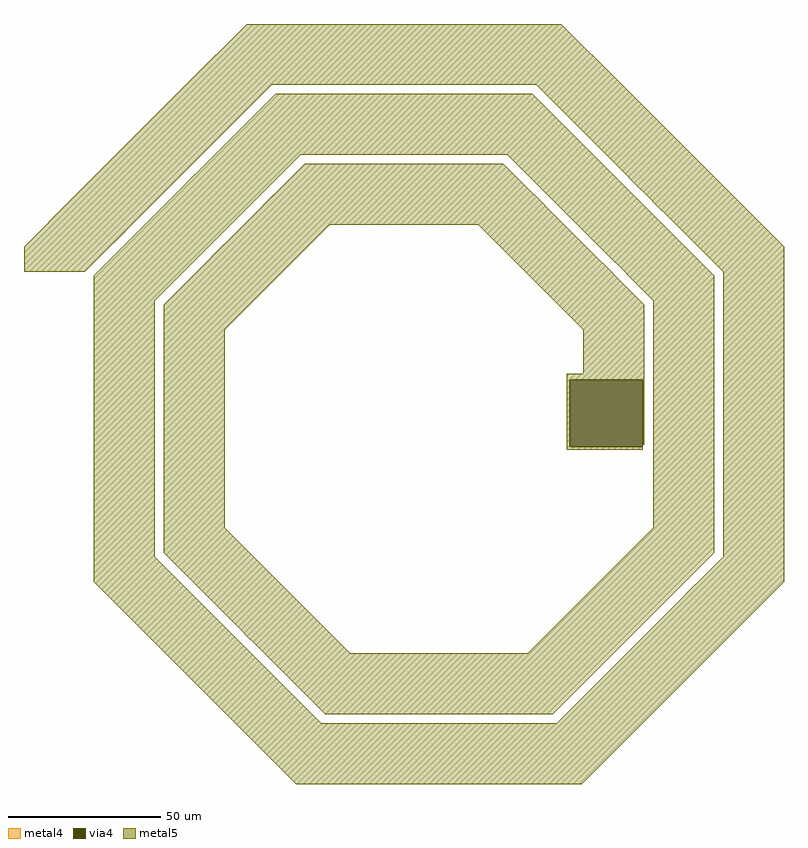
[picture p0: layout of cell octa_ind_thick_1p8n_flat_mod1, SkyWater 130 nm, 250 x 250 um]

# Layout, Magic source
magic
tech sky130B
magscale 1 2
<< metal4 >>
rect -6600 -22674 -6500 -18674
<< via4 >>
rect -11400 -22800 -6600 -18400
<< metal5 >>
tri -36655 1000 -32655 5000 se
rect -32655 1000 -11945 5000
tri -11945 1000 -7945 5000 sw
tri -38502 -847 -36655 1000 se
rect -36655 400 -31598 1000
tri -31598 400 -30998 1000 nw
tri -13602 400 -13002 1000 ne
rect -13002 400 -7945 1000
rect -36655 -448 -32446 400
tri -32446 -448 -31598 400 nw
tri -31598 -448 -30750 400 se
rect -30750 -448 -13850 400
tri -13850 -448 -13002 400 sw
tri -13002 -448 -12154 400 ne
rect -12154 -448 -7945 400
rect -36655 -847 -32845 -448
tri -32845 -847 -32446 -448 nw
tri -31997 -847 -31598 -448 se
rect -31598 -847 -13002 -448
tri -43300 -5645 -38502 -847 se
rect -38502 -1695 -33693 -847
tri -33693 -1695 -32845 -847 nw
tri -32845 -1695 -31997 -847 se
rect -31997 -1296 -13002 -847
tri -13002 -1296 -12154 -448 sw
tri -12154 -1296 -11306 -448 ne
rect -11306 -1296 -7945 -448
rect -31997 -1695 -12154 -1296
rect -38502 -2543 -34541 -1695
tri -34541 -2543 -33693 -1695 nw
tri -33693 -2543 -32845 -1695 se
rect -32845 -2102 -12154 -1695
tri -12154 -2102 -11348 -1296 sw
tri -11306 -2102 -10500 -1296 ne
rect -10500 -2102 -7945 -1296
rect -32845 -2543 -11348 -2102
rect -38502 -2752 -34750 -2543
tri -34750 -2752 -34541 -2543 nw
tri -33902 -2752 -33693 -2543 se
rect -33693 -2752 -11348 -2543
rect -38502 -3600 -35598 -2752
tri -35598 -3600 -34750 -2752 nw
tri -34750 -3600 -33902 -2752 se
rect -33902 -2950 -11348 -2752
tri -11348 -2950 -10500 -2102 sw
tri -10500 -2950 -9652 -2102 ne
rect -9652 -2950 -7945 -2102
rect -33902 -3600 -10500 -2950
rect -38502 -4448 -36446 -3600
tri -36446 -4448 -35598 -3600 nw
tri -35598 -4448 -34750 -3600 se
rect -34750 -4200 -29693 -3600
tri -29693 -4200 -29093 -3600 nw
tri -15507 -4200 -14907 -3600 ne
rect -14907 -3798 -10500 -3600
tri -10500 -3798 -9652 -2950 sw
tri -9652 -3798 -8804 -2950 ne
rect -8804 -3798 -7945 -2950
tri -7945 -3798 -3147 1000 sw
rect -14907 -4200 -9652 -3798
rect -34750 -4448 -30541 -4200
rect -38502 -5296 -37294 -4448
tri -37294 -5296 -36446 -4448 nw
tri -36446 -5296 -35598 -4448 se
rect -35598 -5048 -30541 -4448
tri -30541 -5048 -29693 -4200 nw
tri -29693 -5048 -28845 -4200 se
rect -28845 -5048 -15755 -4200
tri -15755 -5048 -14907 -4200 sw
tri -14907 -5048 -14059 -4200 ne
rect -14059 -4646 -9652 -4200
tri -9652 -4646 -8804 -3798 sw
tri -8804 -4646 -7956 -3798 ne
rect -7956 -4646 -3147 -3798
rect -14059 -5048 -8804 -4646
rect -35598 -5296 -31389 -5048
rect -38502 -5645 -37654 -5296
tri -44159 -6504 -43300 -5645 se
rect -43300 -5656 -37654 -5645
tri -37654 -5656 -37294 -5296 nw
tri -36806 -5656 -36446 -5296 se
rect -36446 -5656 -31389 -5296
rect -43300 -6504 -38502 -5656
tri -38502 -6504 -37654 -5656 nw
tri -37654 -6504 -36806 -5656 se
rect -36806 -5896 -31389 -5656
tri -31389 -5896 -30541 -5048 nw
tri -30541 -5896 -29693 -5048 se
rect -29693 -5896 -14907 -5048
tri -14907 -5896 -14059 -5048 sw
tri -14059 -5896 -13211 -5048 ne
rect -13211 -5494 -8804 -5048
tri -8804 -5494 -7956 -4646 sw
tri -7956 -5494 -7108 -4646 ne
rect -7108 -5494 -3147 -4646
rect -13211 -5896 -7956 -5494
rect -36806 -6504 -31997 -5896
tri -31997 -6504 -31389 -5896 nw
tri -31149 -6504 -30541 -5896 se
rect -30541 -6504 -14059 -5896
tri -14059 -6504 -13451 -5896 sw
tri -13211 -6504 -12603 -5896 ne
rect -12603 -6342 -7956 -5896
tri -7956 -6342 -7108 -5494 sw
tri -7108 -6342 -6260 -5494 ne
rect -6260 -6342 -3147 -5494
rect -12603 -6504 -7108 -6342
tri -47300 -9645 -44159 -6504 se
rect -44159 -7352 -39350 -6504
tri -39350 -7352 -38502 -6504 nw
tri -38502 -7352 -37654 -6504 se
rect -37654 -7352 -32845 -6504
tri -32845 -7352 -31997 -6504 nw
tri -31997 -7352 -31149 -6504 se
rect -31149 -7352 -13451 -6504
tri -13451 -7352 -12603 -6504 sw
tri -12603 -7352 -11755 -6504 ne
rect -11755 -6911 -7108 -6504
tri -7108 -6911 -6539 -6342 sw
tri -6260 -6911 -5691 -6342 ne
rect -5691 -6911 -3147 -6342
rect -11755 -7352 -6539 -6911
rect -44159 -8200 -40198 -7352
tri -40198 -8200 -39350 -7352 nw
tri -39350 -8200 -38502 -7352 se
rect -38502 -8200 -33693 -7352
tri -33693 -8200 -32845 -7352 nw
tri -32845 -8200 -31997 -7352 se
rect -31997 -8200 -12603 -7352
tri -12603 -8200 -11755 -7352 sw
tri -11755 -8200 -10907 -7352 ne
rect -10907 -7759 -6539 -7352
tri -6539 -7759 -5691 -6911 sw
tri -5691 -7759 -4843 -6911 ne
rect -4843 -7759 -3147 -6911
rect -10907 -8200 -5691 -7759
rect -44159 -9048 -41046 -8200
tri -41046 -9048 -40198 -8200 nw
tri -40198 -9048 -39350 -8200 se
rect -39350 -9048 -34541 -8200
tri -34541 -9048 -33693 -8200 nw
tri -33693 -9048 -32845 -8200 se
rect -44159 -9645 -41852 -9048
rect -47300 -9854 -41852 -9645
tri -41852 -9854 -41046 -9048 nw
tri -41004 -9854 -40198 -9048 se
rect -40198 -9854 -35389 -9048
rect -47300 -10702 -42700 -9854
tri -42700 -10702 -41852 -9854 nw
tri -41852 -10702 -41004 -9854 se
rect -41004 -9896 -35389 -9854
tri -35389 -9896 -34541 -9048 nw
tri -34541 -9896 -33693 -9048 se
rect -33693 -9896 -32845 -9048
rect -41004 -10702 -36237 -9896
rect -47300 -11300 -43300 -10702
tri -43300 -11302 -42700 -10702 nw
tri -42700 -11550 -41852 -10702 se
rect -41852 -10744 -36237 -10702
tri -36237 -10744 -35389 -9896 nw
tri -35389 -10744 -34541 -9896 se
rect -34541 -10744 -32845 -9896
rect -41852 -10911 -36404 -10744
tri -36404 -10911 -36237 -10744 nw
tri -35556 -10911 -35389 -10744 se
rect -35389 -10911 -32845 -10744
rect -41852 -11550 -37252 -10911
rect -42700 -11759 -37252 -11550
tri -37252 -11759 -36404 -10911 nw
tri -36404 -11759 -35556 -10911 se
rect -35556 -11759 -32845 -10911
rect -42700 -12607 -38100 -11759
tri -38100 -12607 -37252 -11759 nw
tri -37252 -12607 -36404 -11759 se
rect -36404 -12607 -32845 -11759
rect -42700 -30646 -38700 -12607
tri -38700 -13207 -38100 -12607 nw
tri -38100 -13455 -37252 -12607 se
rect -37252 -13455 -32845 -12607
rect -38100 -13857 -32845 -13455
tri -32845 -13857 -27188 -8200 nw
tri -17412 -13857 -11755 -8200 ne
tri -11755 -8607 -11348 -8200 sw
tri -10907 -8607 -10500 -8200 ne
rect -10500 -8607 -5691 -8200
tri -5691 -8607 -4843 -7759 sw
tri -4843 -8607 -3995 -7759 ne
rect -3995 -8607 -3147 -7759
rect -11755 -9455 -11348 -8607
tri -11348 -9455 -10500 -8607 sw
tri -10500 -9455 -9652 -8607 ne
rect -9652 -9455 -4843 -8607
tri -4843 -9455 -3995 -8607 sw
tri -3995 -9455 -3147 -8607 ne
tri -3147 -9455 2510 -3798 sw
rect -11755 -10303 -10500 -9455
tri -10500 -10303 -9652 -9455 sw
tri -9652 -10303 -8804 -9455 ne
rect -8804 -10303 -3995 -9455
tri -3995 -10303 -3147 -9455 sw
tri -3147 -10303 -2299 -9455 ne
rect -2299 -9645 2510 -9455
tri 2510 -9645 2700 -9455 sw
rect -2299 -10303 2700 -9645
rect -11755 -11151 -9652 -10303
tri -9652 -11151 -8804 -10303 sw
tri -8804 -11151 -7956 -10303 ne
rect -7956 -10702 -3147 -10303
tri -3147 -10702 -2748 -10303 sw
tri -2299 -10702 -1900 -10303 ne
rect -1900 -10702 2700 -10303
rect -7956 -11151 -2748 -10702
rect -11755 -11759 -8804 -11151
tri -8804 -11759 -8196 -11151 sw
tri -7956 -11759 -7348 -11151 ne
rect -7348 -11550 -2748 -11151
tri -2748 -11550 -1900 -10702 sw
tri -1900 -11302 -1300 -10702 ne
rect -7348 -11759 -1900 -11550
rect -11755 -12607 -8196 -11759
tri -8196 -12607 -7348 -11759 sw
tri -7348 -12607 -6500 -11759 ne
rect -6500 -12607 -1900 -11759
rect -11755 -13455 -7348 -12607
tri -7348 -13455 -6500 -12607 sw
tri -6500 -13207 -5900 -12607 ne
rect -11755 -13857 -6500 -13455
rect -38100 -29797 -34100 -13857
tri -34100 -15112 -32845 -13857 nw
tri -11755 -15112 -10500 -13857 ne
rect -10500 -18000 -6500 -13857
rect -11600 -18400 -6500 -18000
rect -11600 -22800 -11400 -18400
rect -6600 -22674 -6500 -18400
rect -11600 -23000 -6600 -22800
tri -38700 -30646 -38100 -30046 sw
tri -38100 -30646 -37251 -29797 ne
rect -37251 -30646 -34100 -29797
rect -42700 -31495 -38100 -30646
tri -38100 -31495 -37251 -30646 sw
tri -37251 -31495 -36402 -30646 ne
rect -36402 -31495 -34100 -30646
rect -42700 -31703 -37251 -31495
tri -42700 -36400 -38003 -31703 ne
rect -38003 -32099 -37251 -31703
tri -37251 -32099 -36647 -31495 sw
tri -36402 -32099 -35798 -31495 ne
rect -35798 -32099 -34100 -31495
rect -38003 -32948 -36647 -32099
tri -36647 -32948 -35798 -32099 sw
tri -35798 -32948 -34949 -32099 ne
rect -34949 -32948 -34100 -32099
rect -38003 -33797 -35798 -32948
tri -35798 -33797 -34949 -32948 sw
tri -34949 -33797 -34100 -32948 ne
tri -34100 -33797 -28443 -28140 sw
tri -8503 -30743 -5900 -28140 se
rect -5900 -29797 -1900 -12607
rect -5900 -30646 -2749 -29797
tri -2749 -30646 -1900 -29797 nw
tri -1900 -30646 -1300 -30046 se
rect -1300 -30646 2700 -10702
rect -5900 -30743 -2846 -30646
tri -2846 -30743 -2749 -30646 nw
tri -1997 -30743 -1900 -30646 se
rect -1900 -30743 2700 -30646
tri -11557 -33797 -8503 -30743 se
rect -8503 -31592 -3695 -30743
tri -3695 -31592 -2846 -30743 nw
tri -2846 -31592 -1997 -30743 se
rect -1997 -31592 2700 -30743
rect -8503 -32099 -4202 -31592
tri -4202 -32099 -3695 -31592 nw
tri -3353 -32099 -2846 -31592 se
rect -2846 -31703 2700 -31592
rect -8503 -32948 -5051 -32099
tri -5051 -32948 -4202 -32099 nw
tri -4202 -32948 -3353 -32099 se
rect -3353 -32948 -2846 -32099
rect -8503 -33797 -5900 -32948
tri -5900 -33797 -5051 -32948 nw
tri -5051 -33797 -4202 -32948 se
rect -4202 -33797 -2846 -32948
rect -38003 -34646 -34949 -33797
tri -34949 -34646 -34100 -33797 sw
tri -34100 -34646 -33251 -33797 ne
rect -33251 -34646 -28443 -33797
rect -38003 -35495 -34100 -34646
tri -34100 -35495 -33251 -34646 sw
tri -33251 -35495 -32402 -34646 ne
rect -32402 -35495 -28443 -34646
rect -38003 -35551 -33251 -35495
tri -33251 -35551 -33195 -35495 sw
tri -32402 -35551 -32346 -35495 ne
rect -32346 -35551 -28443 -35495
rect -38003 -36400 -33195 -35551
tri -33195 -36400 -32346 -35551 sw
tri -32346 -36400 -31497 -35551 ne
rect -31497 -36400 -28443 -35551
tri -28443 -36400 -25840 -33797 sw
tri -14160 -36400 -11557 -33797 se
rect -11557 -34646 -6749 -33797
tri -6749 -34646 -5900 -33797 nw
tri -5900 -34646 -5051 -33797 se
rect -5051 -34646 -2846 -33797
rect -11557 -35495 -7598 -34646
tri -7598 -35495 -6749 -34646 nw
tri -6749 -35495 -5900 -34646 se
rect -5900 -35495 -2846 -34646
rect -11557 -35551 -7654 -35495
tri -7654 -35551 -7598 -35495 nw
tri -6805 -35551 -6749 -35495 se
rect -6749 -35551 -2846 -35495
rect -11557 -36400 -8503 -35551
tri -8503 -36400 -7654 -35551 nw
tri -7654 -36400 -6805 -35551 se
rect -6805 -36400 -2846 -35551
tri -38003 -41000 -33403 -36400 ne
rect -33403 -37249 -32346 -36400
tri -32346 -37249 -31497 -36400 sw
tri -31497 -37249 -30648 -36400 ne
rect -30648 -37249 -9352 -36400
tri -9352 -37249 -8503 -36400 nw
tri -8503 -37249 -7654 -36400 se
rect -7654 -37249 -2846 -36400
tri -2846 -37249 2700 -31703 nw
rect -33403 -38098 -31497 -37249
tri -31497 -38098 -30648 -37249 sw
tri -30648 -38098 -29799 -37249 ne
rect -29799 -38098 -10201 -37249
tri -10201 -38098 -9352 -37249 nw
tri -9352 -38098 -8503 -37249 se
rect -33403 -38702 -30648 -38098
tri -30648 -38702 -30044 -38098 sw
tri -29799 -38702 -29195 -38098 ne
rect -29195 -38702 -10805 -38098
tri -10805 -38702 -10201 -38098 nw
tri -9956 -38702 -9352 -38098 se
rect -9352 -38702 -8503 -38098
rect -33403 -39551 -30044 -38702
tri -30044 -39551 -29195 -38702 sw
tri -29195 -39551 -28346 -38702 ne
rect -28346 -39551 -11654 -38702
tri -11654 -39551 -10805 -38702 nw
tri -10805 -39551 -9956 -38702 se
rect -9956 -39551 -8503 -38702
rect -33403 -40400 -29195 -39551
tri -29195 -40400 -28346 -39551 sw
tri -28346 -40400 -27497 -39551 ne
rect -27497 -40400 -12503 -39551
tri -12503 -40400 -11654 -39551 nw
tri -11654 -40400 -10805 -39551 se
rect -10805 -40400 -8503 -39551
rect -33403 -41000 -28346 -40400
tri -28346 -41000 -27746 -40400 sw
tri -12254 -41000 -11654 -40400 se
rect -11654 -41000 -8503 -40400
tri -33403 -45000 -29403 -41000 ne
rect -29403 -42906 -8503 -41000
tri -8503 -42906 -2846 -37249 nw
rect -29403 -45000 -10597 -42906
tri -10597 -45000 -8503 -42906 nw
<< end >>
